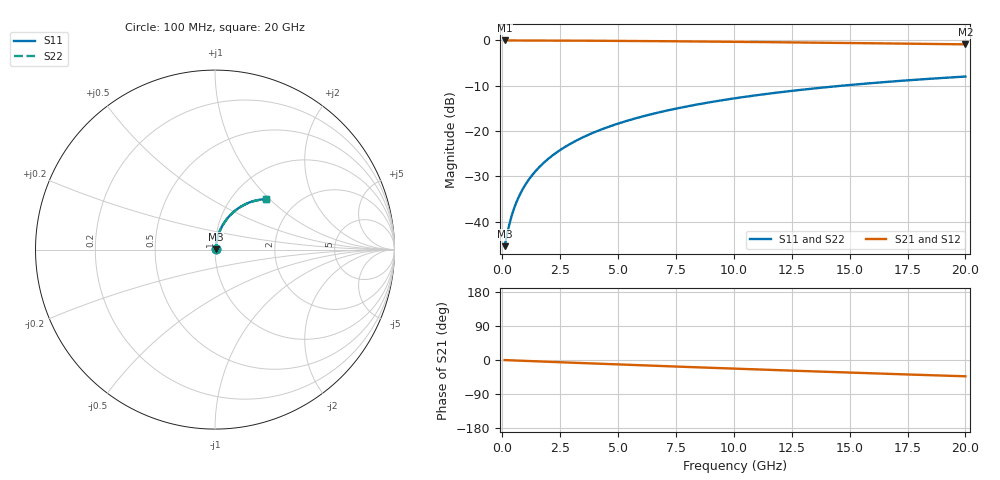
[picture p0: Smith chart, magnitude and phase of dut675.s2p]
! Touchstone file exported from HFSS 2026.1.0
!  File:  C:/ffzhzh/LocalFiles/Ansys_Project_Files/temp_train_TMRDL_675_1783009976_53980.aedt
!  Generated:  12:34:19 AM Jul  3, 2026
!  Design:  TMRDL
!  Project:  temp_train_TMRDL_675_1783009976_53980
! Variables:
!  h_bsmrdl = 2um
!  h_ox = 20um
!  h_rdl = 5um
!  h_sub = 80um
!  h_tmrdl = 3.9um
!  h_tsv = 80um
!  h_via = 3um
!  l_bsmrdl = 300um
!  l_sub = 1046.96um
!  l_tmrdl = 646.96um
!  m_sub = 200um
!  pitch = 32.71um
!  r_tsv = 6um
!  s_tmrdl = 10um
!  w_bsmrdl = 18um
!  w_sub = 500um
!  w_tmrdl = 12.72um
!  x_tsv_center1 = 653.32um
!  x_tsv_center2 = 971.32um
!  x_tsv_center3 = 1631um
!  x_tsv_center4 = 1949um
!  x_tsv_center5 = 2608.68um
!  x_tsv_center6 = 2926.68um
# GHz S MA R 50.000000
! Terminal data exported
! Port[1] = TM_RDL1_1_T1
! Port[2] = TM_RDL1_1_T2
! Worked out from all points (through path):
!   200 points, 100 MHz to 20 GHz, reference 50 ohm
!   highest |S21| = -0.04 dB at 100 MHz (marker M1); lowest = -0.9 dB at 20 GHz (marker M2)
!   group delay of S21, straight-line fit = 5.97 ps
!   lowest |S11| = -45.4 dB at 100 MHz (marker M3), VSWR 1.01, Z = 50.5 + j0.266 ohm
!   |S11| at or under -10 dB: start of sweep to 14.7 GHz
!   |S22| runs from -45.4 to -8.0 dB; largest |S21 - S12| = 3.4e-15
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0.1  0.005373 29.3  0.9953 -0.2  0.9953 -0.2  0.005373 29.3
! Gamma 0 0 0 0
! Port Impedance 50 0 50 0
0.3  0.009238 57.3  0.9951 -0.7  0.9951 -0.7  0.009238 57.3
0.4  0.01151 63.1  0.9949 -1.0  0.9949 -1.0  0.01151 63.1
0.5  0.01383 66.9  0.9948 -1.2  0.9948 -1.2  0.01383 66.9
0.6  0.01617 69.6  0.9946 -1.4  0.9946 -1.4  0.01617 69.6
0.8  0.02089 73.0  0.9944 -1.9  0.9944 -1.9  0.02089 73.0
1  0.02564 75.1  0.9942 -2.4  0.9942 -2.4  0.02564 75.1
1.2  0.03043 76.4  0.9939 -2.9  0.9939 -2.9  0.03043 76.4
1.4  0.03523 77.3  0.9937 -3.3  0.9937 -3.3  0.03523 77.3
1.7  0.04245 78.0  0.9932 -4.0  0.9932 -4.0  0.04245 78.0
2.2  0.0545 78.3  0.9924 -5.2  0.9924 -5.2  0.0545 78.3
2.8  0.06891 78.0  0.9912 -6.6  0.9912 -6.6  0.06891 78.0
3.5  0.08558 77.1  0.9894 -8.2  0.9894 -8.2  0.08558 77.1
4.2  0.1021 76.0  0.9873 -9.8  0.9873 -9.8  0.1021 76.0
5  0.1206 74.5  0.9846 -11.7  0.9846 -11.7  0.1206 74.5
5.9  0.1411 72.7  0.9812 -13.7  0.9812 -13.7  0.1411 72.7
6.8  0.1611 70.9  0.9774 -15.7  0.9774 -15.7  0.1611 70.9
8.3  0.1934 67.8  0.9704 -19.1  0.9704 -19.1  0.1934 67.8
10.1  0.2305 64.1  0.9612 -23.0  0.9612 -23.0  0.2305 64.0
13.4  0.2933 57.4  0.9425 -29.9  0.9425 -29.9  0.2933 57.4
16.7  0.3492 51.0  0.9224 -36.6  0.9224 -36.6  0.3492 51.0
20  0.3982 44.9  0.902 -43.0  0.902 -43.0  0.3982 44.8
